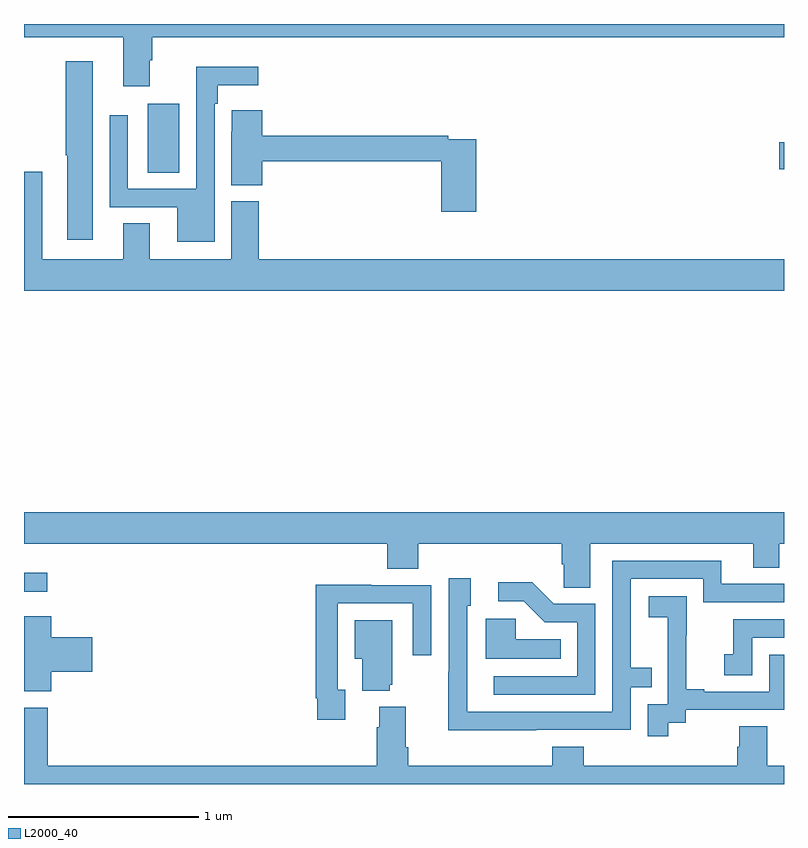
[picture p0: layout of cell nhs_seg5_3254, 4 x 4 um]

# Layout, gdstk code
import gdstk
lib = gdstk.Library(unit=1e-6, precision=1e-09)
def R(c, l, rs):  # rectangles x0, y0, x1, y1
    for r in rs: c.add(gdstk.rectangle(r[:2], r[2:], *l))
def P(c, l, *ps):  # polygons
    for p in ps: c.add(gdstk.Polygon(p, *l))
L2000_40 = (2000, 40)

nhs_seg5_3254 = lib.new_cell('nhs_seg5_3254')
R(nhs_seg5_3254, L2000_40, [(299,885.812,299.122,885.91), (299.651,888.016,299.818,888.379), (302.976,888.034,303,888.176)])
P(nhs_seg5_3254, L2000_40, [(299.662,888.608),(299.675,888.608),(299.675,888.728),(303,888.728),(303,888.799),(299,888.799),(299,888.728),(299.522,888.728),(299.522,888.471),(299.662,888.471)],
  [(299.362,888.604),(299.221,888.604),(299.221,888.109),(299.228,888.109),(299.228,887.664),(299.362,887.664)],
  [(300.003,888.38),(300.019,888.38),(300.019,888.476),(300.232,888.476),(300.232,888.574),(299.907,888.574),(299.907,887.931),(299.547,887.931),(299.547,888.319),(299.451,888.319),(299.451,887.835),(299.807,887.835),(299.807,887.654),(300.003,887.654)],
  [(301.379,888.192),(301.232,888.192),(301.232,888.212),(300.254,888.212),(300.254,888.346),(300.093,888.346),(300.093,888.233),(300.092,888.233),(300.092,887.95),(300.254,887.95),(300.254,888.076),(301.196,888.076),(301.196,887.811),(301.379,887.811)],
  [(303,887.56),(300.236,887.56),(300.236,887.865),(300.092,887.865),(300.092,887.56),(299.662,887.56),(299.662,887.75),(299.522,887.75),(299.522,887.56),(299.095,887.56),(299.095,888.022),(299,888.022),(299,887.396),(303,887.396)],
  [(301.981,886.064),(302.837,886.064),(302.837,885.937),(302.976,885.937),(302.976,886.064),(303,886.064),(303,886.228),(299,886.228),(299,886.064),(300.911,886.064),(300.911,885.931),(301.076,885.931),(301.076,886.064),(301.829,886.064),(301.829,885.955),(301.842,885.955),(301.842,885.832),(301.981,885.832)],
  [(301.697,885.084),(302.193,885.084),(302.193,885.309),(302.303,885.309),(302.303,885.41),(302.193,885.41),(302.193,885.879),(302.574,885.879),(302.574,885.756),(303,885.756),(303,885.852),(302.671,885.852),(302.671,885.975),(302.097,885.975),(302.097,885.18),(301.333,885.18),(301.333,885.434),(301.332,885.434),(301.332,885.738),(301.351,885.738),(301.351,885.883),(301.236,885.883),(301.236,885.389),(301.234,885.389),(301.234,885.083),(301.697,885.083)],
  [(302.007,885.747),(301.788,885.747),(301.675,885.86),(301.497,885.86),(301.497,885.762),(301.631,885.762),(301.742,885.651),(301.911,885.651),(301.911,885.366),(301.473,885.366),(301.473,885.27),(302.007,885.27)],
  [(300.691,885.294),(300.651,885.294),(300.651,885.75),(301.047,885.75),(301.047,885.477),(301.143,885.477),(301.143,885.846),(300.827,885.846),(300.827,885.848),(300.535,885.848),(300.535,885.25),(300.543,885.25),(300.543,885.138),(300.691,885.138)],
  [(302.392,885.121),(302.484,885.121),(302.484,885.189),(303,885.189),(303,885.48),(302.922,885.48),(302.922,885.285),(302.581,885.285),(302.581,885.298),(302.486,885.298),(302.486,885.581),(302.487,885.581),(302.487,885.787),(302.289,885.787),(302.289,885.677),(302.387,885.677),(302.387,885.449),(302.388,885.449),(302.388,885.219),(302.283,885.219),(302.283,885.051),(302.392,885.051)],
  [(299.144,885.389),(299.359,885.389),(299.359,885.572),(299.144,885.572),(299.144,885.682),(299,885.682),(299,885.286),(299.144,885.286)],
  [(301.826,885.562),(301.587,885.562),(301.587,885.67),(301.43,885.67),(301.43,885.458),(301.826,885.458)],
  [(302.832,885.57),(303,885.57),(303,885.666),(302.734,885.666),(302.734,885.481),(302.685,885.481),(302.685,885.372),(302.832,885.372)],
  [(300.926,885.321),(300.937,885.321),(300.937,885.661),(300.74,885.661),(300.74,885.458),(300.779,885.458),(300.779,885.29),(300.926,885.29)],
  [(303,884.896),(302.913,884.896),(302.913,885.104),(302.765,885.104),(302.765,884.994),(302.753,884.994),(302.753,884.896),(301.946,884.896),(301.946,884.995),(301.781,884.995),(301.781,884.896),(301.022,884.896),(301.022,884.992),(301.009,884.992),(301.009,885.205),(300.869,885.205),(300.869,885.098),(300.857,885.098),(300.857,884.896),(299.126,884.896),(299.126,885.201),(299,885.201),(299,884.799),(303,884.799)])

lib.write_gds('nhs_seg5_3254.gds')
